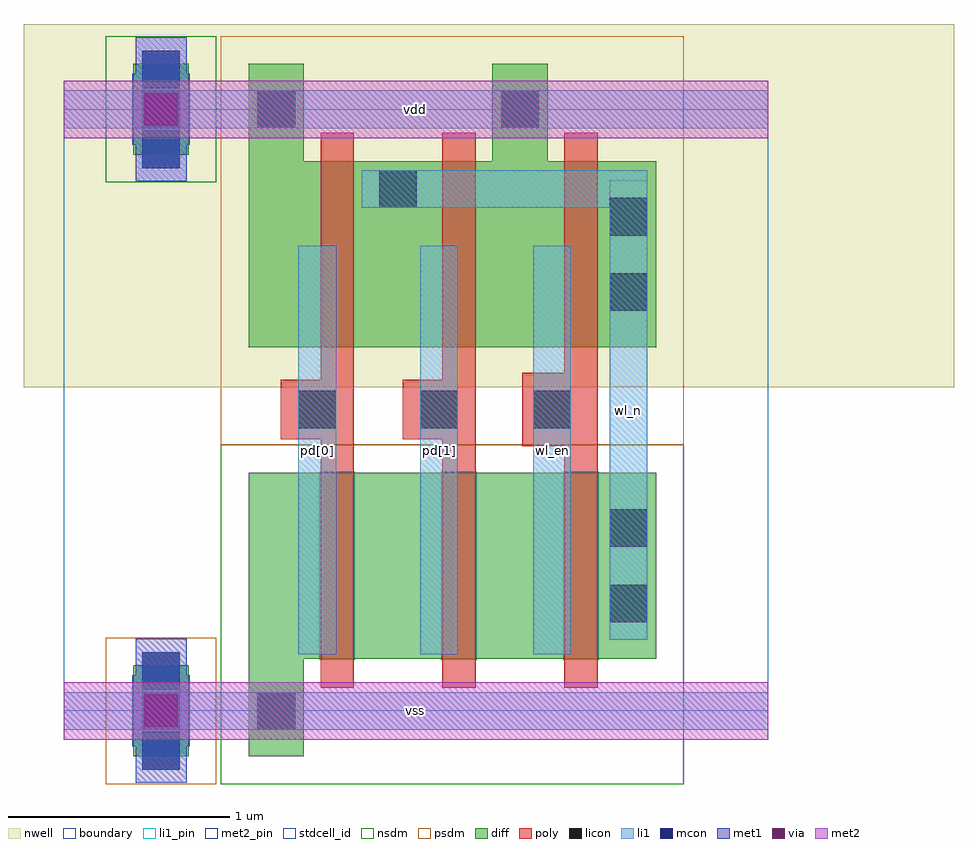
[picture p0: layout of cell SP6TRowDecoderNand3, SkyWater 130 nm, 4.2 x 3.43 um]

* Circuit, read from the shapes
.subckt SP6TRowDecoderNand3 pd[0] pd[1] vdd vss wl_en wl_n
XM1 n1 pd[0] vss VSUBS sky130_fd_pr__nfet_01v8 w=0.84 l=0.15
XM2 n2 pd[1] n1 VSUBS sky130_fd_pr__nfet_01v8 w=0.84 l=0.15
XM3 wl_n wl_en n2 VSUBS sky130_fd_pr__nfet_01v8 w=0.84 l=0.15
XM4 wl_n pd[0] vdd n3 sky130_fd_pr__pfet_01v8 w=0.84 l=0.15
XM5 vdd pd[1] wl_n n3 sky130_fd_pr__pfet_01v8 w=0.84 l=0.15
XM6 wl_n wl_en vdd n3 sky130_fd_pr__pfet_01v8 w=0.84 l=0.15
.ends

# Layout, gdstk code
import gdstk
lib = gdstk.Library(unit=1e-6, precision=1e-09)
def R(c, l, rs):  # rectangles x0, y0, x1, y1
    for r in rs: c.add(gdstk.rectangle(r[:2], r[2:], *l))
def A(c, l, x, y, w, h, nx, ny, dx, dy):  # array of equal rectangles
    R(c, l, [(x+i*dx, y+j*dy, x+i*dx+w, y+j*dy+h) for i in range(nx) for j in range(ny)])
def P(c, l, *ps):  # polygons
    for p in ps: c.add(gdstk.Polygon(p, *l))
nwell = (64, 20)
diff = (65, 20)
poly = (66, 20)
licon = (66, 44)
li1_pin = (67, 16)
li1 = (67, 20)
mcon = (67, 44)
met1 = (68, 20)
via = (68, 44)
met2_pin = (69, 16)
met2 = (69, 20)
stdcell_id = (81, 4)
nsdm = (93, 44)
psdm = (94, 20)
boundary = (235, 4)

sp6trowdecodernand3 = lib.new_cell('SP6TRowDecoderNand3')
R(sp6trowdecodernand3, nwell, [(-0.18,1.46,4.02,3.1)])
R(sp6trowdecodernand3, diff, [(0.315,-0.205,0.565,0.205), (0.315,2.51,0.565,2.92)])
P(sp6trowdecodernand3, diff, [(0.835,-0.205),(0.835,1.075),(2.675,1.075),(2.675,0.235),(1.085,0.235),(1.085,-0.205)],
  [(0.835,1.64),(0.835,2.92),(1.085,2.92),(1.085,2.48),(1.935,2.48),(1.935,2.92),(2.185,2.92),(2.185,2.48),(2.675,2.48),(2.675,1.64)])
P(sp6trowdecodernand3, poly, [(1.16,0.105),(1.16,1.225),(0.98,1.225),(0.98,1.495),(1.16,1.495),(1.16,2.61),(1.31,2.61),(1.31,0.105)],
  [(1.71,0.105),(1.71,1.225),(1.53,1.225),(1.53,1.495),(1.71,1.495),(1.71,2.61),(1.86,2.61),(1.86,0.105)],
  [(2.26,0.105),(2.26,1.195),(2.07,1.195),(2.07,1.525),(2.26,1.525),(2.26,2.61),(2.41,2.61),(2.41,0.105)])
R(sp6trowdecodernand3, licon, [(0.355,-0.085,0.525,0.085), (0.875,-0.085,1.045,0.085), (2.465,0.4,2.635,0.57), (2.465,0.74,2.635,0.91), (1.06,1.275,1.23,1.445), (1.61,1.275,1.78,1.445), (2.12,1.275,2.29,1.445), (2.465,1.805,2.635,1.975), (2.465,2.145,2.635,2.315), (1.425,2.27,1.595,2.44), (0.355,2.63,0.525,2.8), (0.875,2.63,1.045,2.8), (1.975,2.63,2.145,2.8)])
R(sp6trowdecodernand3, li1_pin, [(1.06,0.255,1.23,2.1), (1.61,0.255,1.78,2.1), (2.12,0.255,2.29,2.1), (2.465,0.32,2.635,2.395)])
R(sp6trowdecodernand3, li1, [(1.06,0.255,1.23,2.1), (1.61,0.255,1.78,2.1), (2.12,0.255,2.29,2.1)])
P(sp6trowdecodernand3, li1, [(0.355,-0.265),(0.355,-0.085),(0,-0.085),(0,0.085),(0.355,0.085),(0.355,0.265),(0.525,0.265),(0.525,0.085),(3.18,0.085),(3.18,-0.085),(0.525,-0.085),(0.525,-0.265)],
  [(0.355,2.45),(0.355,2.63),(0,2.63),(0,2.8),(0.355,2.8),(0.355,2.98),(0.525,2.98),(0.525,2.8),(3.18,2.8),(3.18,2.63),(0.525,2.63),(0.525,2.45)],
  [(2.465,0.32),(2.465,2.27),(1.345,2.27),(1.345,2.44),(2.635,2.44),(2.635,0.32)])
R(sp6trowdecodernand3, mcon, [(0.355,-0.265,0.525,-0.095), (0.355,0.095,0.525,0.265), (0.355,2.45,0.525,2.62), (0.355,2.81,0.525,2.98)])
P(sp6trowdecodernand3, met1, [(0.325,-0.325),(0.325,-0.16),(0.31,-0.16),(0.31,0.16),(0.325,0.16),(0.325,0.325),(0.555,0.325),(0.555,0.16),(0.57,0.16),(0.57,-0.16),(0.555,-0.16),(0.555,-0.325)],
  [(0.325,2.39),(0.325,2.555),(0.31,2.555),(0.31,2.875),(0.325,2.875),(0.325,3.04),(0.555,3.04),(0.555,2.875),(0.57,2.875),(0.57,2.555),(0.555,2.555),(0.555,2.39)])
R(sp6trowdecodernand3, via, [(0.365,-0.075,0.515,0.075), (0.365,2.64,0.515,2.79)])
R(sp6trowdecodernand3, met2_pin, [(0,-0.13,3.18,0.13), (0,2.585,3.18,2.845)])
R(sp6trowdecodernand3, met2, [(0,-0.13,3.18,0.13), (0,2.585,3.18,2.845)])
A(sp6trowdecodernand3, stdcell_id, 1.155, 0.23, 0.16, 0.85, 3, 1, 0.55, 0)
R(sp6trowdecodernand3, nsdm, [(0.71,-0.33,2.8,1.2), (0.19,2.385,0.69,3.045)])
R(sp6trowdecodernand3, psdm, [(0.19,-0.33,0.69,0.33), (0.71,1.2,2.8,3.045)])
R(sp6trowdecodernand3, boundary, [(0,0,3.18,2.715)])
sp6trowdecodernand3.add(gdstk.Label('vss', (1.59,0), layer=69, texttype=16))
sp6trowdecodernand3.add(gdstk.Label('vdd', (1.59,2.715), layer=69, texttype=16))
sp6trowdecodernand3.add(gdstk.Label('pd[0]', (1.145,1.177), layer=67, texttype=16))
sp6trowdecodernand3.add(gdstk.Label('wl_n', (2.55,1.357), layer=67, texttype=16))
sp6trowdecodernand3.add(gdstk.Label('pd[1]', (1.695,1.177), layer=67, texttype=16))
sp6trowdecodernand3.add(gdstk.Label('wl_en', (2.205,1.177), layer=67, texttype=16))

lib.write_gds('SP6TRowDecoderNand3.gds')
